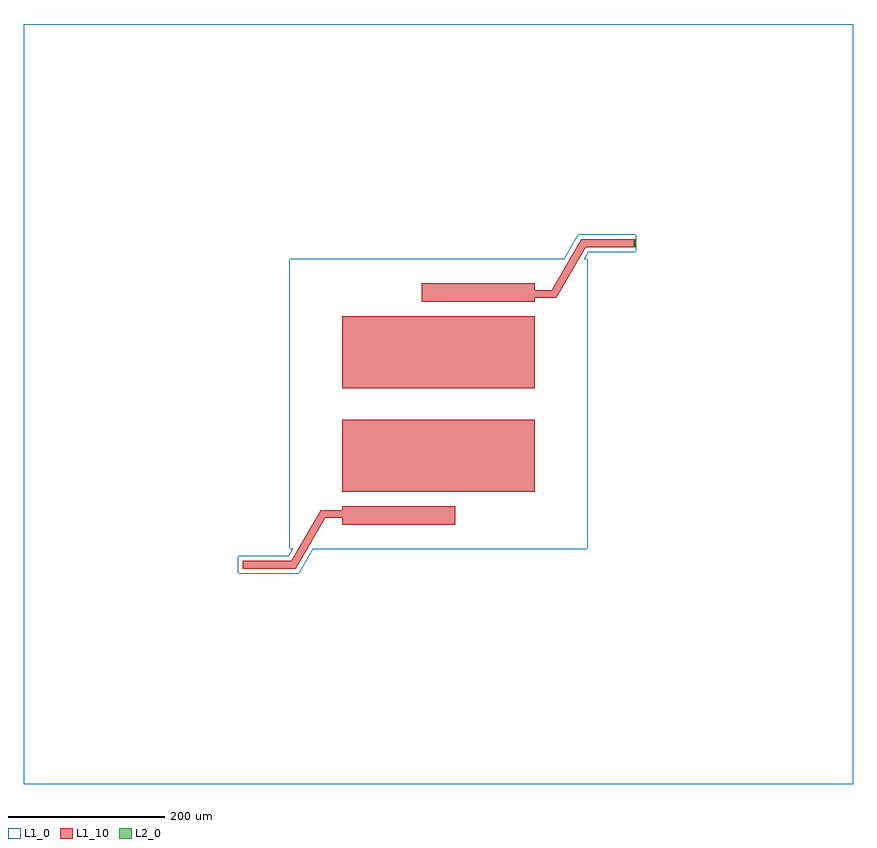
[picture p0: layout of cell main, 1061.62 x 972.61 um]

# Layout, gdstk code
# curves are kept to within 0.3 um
import gdstk
lib = gdstk.Library(unit=1e-6, precision=1e-09)
def R(c, l, rs):  # rectangles x0, y0, x1, y1
    for r in rs: c.add(gdstk.rectangle(r[:2], r[2:], *l))
def P(c, l, *ps):  # polygons
    for p in ps: c.add(gdstk.Polygon(p, *l))
L1_0 = (1, 0)
L1_10 = (1, 10)
L2_0 = (2, 0)

main = lib.new_cell('main')
P(main, L1_0, [(530.808,486.306),(-530.808,486.306),(-530.808,-216.84),(-256.342,-216.84),(-256.342,-194.84),(-191.706,-194.84),(-186.177,-185.222),(-190.342,-185.222),(-190.342,185.222),(160.801,185.222),(178.977,216.84),(252.342,216.84),(252.342,194.84),(191.706,194.84),(186.177,185.222),(190.342,185.222),(190.342,-185.222),(-160.801,-185.222),(-178.977,-216.84),(-530.808,-216.84),(-530.808,-486.306),(530.808,-486.306)])
R(main, L1_10, [(-122.975,-112.084,122.975,-19.887), (-122.975,19.887,122.975,112.084)])
P(main, L1_10, [(122.975,130.839),(-21.436,130.839),(-21.436,154.764),(122.975,154.764),(122.975,145.84),(145.082,145.84),(182.449,210.84),(250.342,210.84),(250.342,200.84),(188.234,200.84),(150.868,135.84),(122.975,135.84)],
  [(-182.449,-210.84),(-250.342,-210.84),(-250.342,-200.84),(-188.234,-200.84),(-150.868,-135.84),(-122.975,-135.84),(-122.975,-130.839),(21.436,-130.839),(21.436,-154.764),(-122.975,-154.764),(-122.975,-145.84),(-145.082,-145.84)])
R(main, L2_0, [(250.342,200.84,252.342,210.84)])

lib.write_gds('main.gds')
